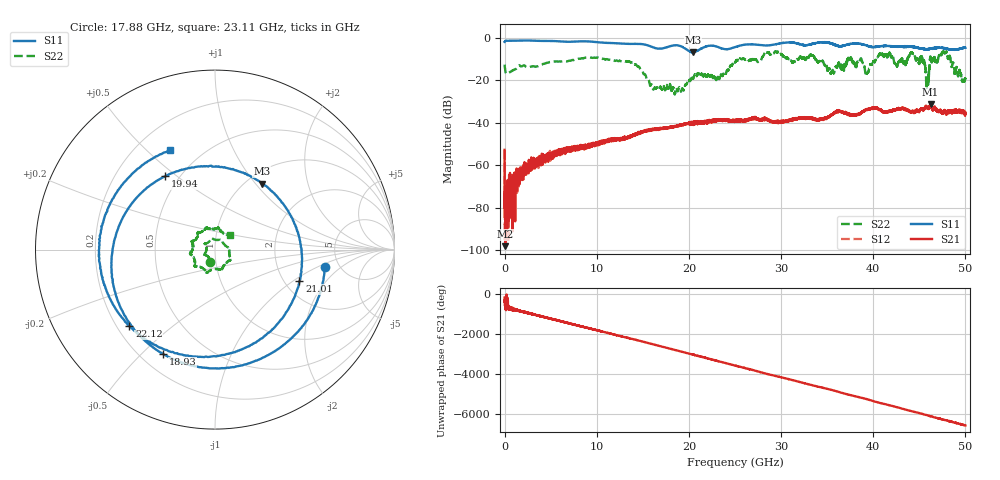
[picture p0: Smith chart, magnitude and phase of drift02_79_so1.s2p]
!Created with skrf (http://scikit-rf.org).
# Hz S RI R 50.0
!freq ReS11 ImS11 ReS21 ImS21 ReS12 ImS12 ReS22 ImS22
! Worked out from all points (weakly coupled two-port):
!   10001 points, 300 kHz to 50 GHz, reference 50 ohm
!   highest |S21| = -31.35 dB at 46.22 GHz (marker M1); lowest = -98.0 dB at 70.3 MHz (marker M2)
!   lowest |S11| = -6.9 dB at 20.44 GHz (marker M3), VSWR 2.64, Z = 58.4 + j54 ohm
!   |S11| at or under -10 dB: nowhere
!   |S22| runs from -26.7 to -6.1 dB; largest |S21 - S12| = 0.0045
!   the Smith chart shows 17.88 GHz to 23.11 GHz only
!   S11 on the Smith chart (normalised r, x): 17.88 GHz: 3.84, -1.25; 18.93 GHz: 0.29, -0.58; 19.94 GHz: 0.42, +0.45; 21.01 GHz: 2.40, -1.13; 22.12 GHz: 0.25, -0.36; 23.11 GHz: 0.34, +0.59
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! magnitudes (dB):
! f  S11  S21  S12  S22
! 300 kHz  -2.1  -52.8  -53.0  -12.7
! 70.3 MHz  -1.6  -98.0  -75.6  -15.6
! 265.3 MHz  -1.4  -78.0  -70.6  -17.0
! 3.015 GHz  -1.4  -58.6  -59.6  -13.5
! 8.335 GHz  -1.7  -51.2  -51.5  -9.7
! 13.71 GHz  -3.0  -46.5  -46.5  -11.7
! 16.67 GHz  -5.2  -43.0  -42.8  -23.8
! 17.88 GHz  -4.1  -42.2  -42.2  -22.4
! 18.93 GHz  -3.7  -41.3  -41.4  -23.5
! 19.94 GHz  -6.1  -40.3  -40.4  -19.7
! 20.44 GHz  -6.9  -40.7  -40.1  -19.3
! 21.01 GHz  -6.0  -39.9  -39.8  -16.8
! 22.12 GHz  -3.9  -38.7  -39.4  -17.6
! 23.11 GHz  -4.3  -38.4  -39.1  -18.8
! 25 GHz  -4.5  -39.2  -38.7  -11.6
! 33.34 GHz  -3.0  -37.7  -37.8  -8.3
! 39.33 GHz  -3.8  -34.1  -33.7  -16.7
! 41.67 GHz  -3.9  -34.3  -34.6  -7.8
! 45.85 GHz  -5.4  -33.1  -32.9  -18.6
! 46.22 GHz  -5.2  -31.3  -31.9  -9.7
! 47.75 GHz  -5.0  -34.2  -34.6  -7.2
! 50 GHz  -4.7  -35.2  -35.8  -18.4
